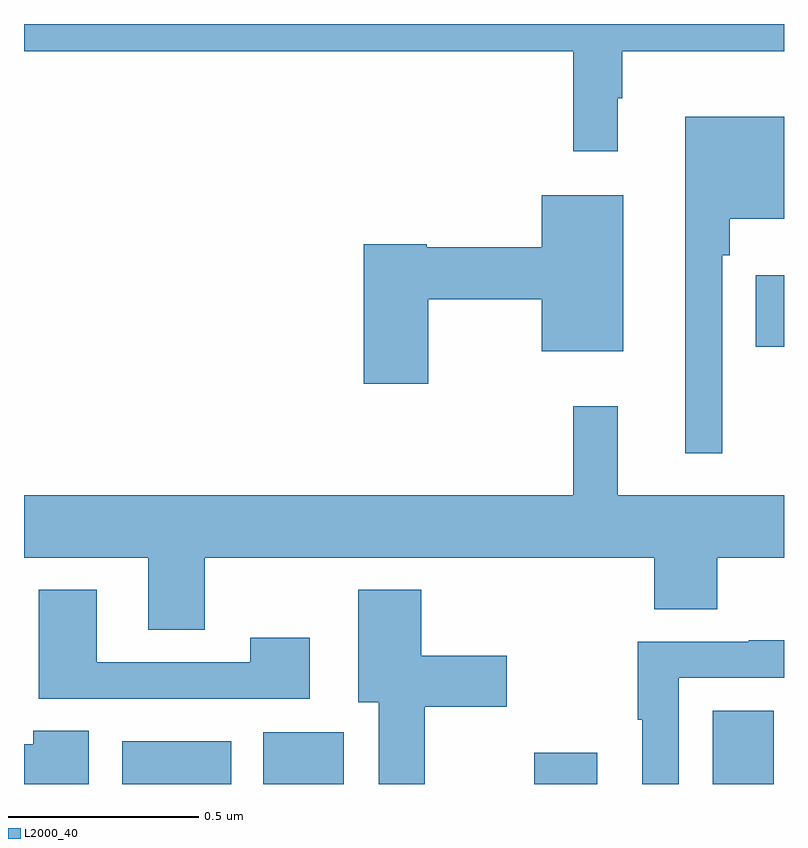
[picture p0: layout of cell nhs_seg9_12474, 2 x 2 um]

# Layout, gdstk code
import gdstk
lib = gdstk.Library(unit=1e-6, precision=1e-09)
def R(c, l, rs):  # rectangles x0, y0, x1, y1
    for r in rs: c.add(gdstk.rectangle(r[:2], r[2:], *l))
def P(c, l, *ps):  # polygons
    for p in ps: c.add(gdstk.Polygon(p, *l))
L2000_40 = (2000, 40)

nhs_seg9_12474 = lib.new_cell('nhs_seg9_12474')
R(nhs_seg9_12474, L2000_40, [(269.258,1186.5,269.545,1186.612), (269.63,1186.5,269.842,1186.636), (270.343,1186.5,270.508,1186.582), (270.812,1186.5,270.973,1186.693), (270.926,1187.651,271,1187.839)])
P(nhs_seg9_12474, L2000_40, [(270.562,1188.305),(270.574,1188.305),(270.574,1188.428),(271,1188.428),(271,1188.5),(269,1188.5),(269,1188.428),(270.445,1188.428),(270.445,1188.165),(270.562,1188.165)],
  [(270.837,1187.891),(270.857,1187.891),(270.857,1187.987),(271,1187.987),(271,1188.256),(270.74,1188.256),(270.74,1187.37),(270.837,1187.37)],
  [(270.064,1187.776),(270.362,1187.776),(270.362,1187.639),(270.577,1187.639),(270.577,1188.049),(270.362,1188.049),(270.362,1187.912),(270.06,1187.912),(270.06,1187.92),(269.894,1187.92),(269.894,1187.553),(270.064,1187.553)],
  [(269.475,1187.096),(270.659,1187.096),(270.659,1186.96),(270.824,1186.96),(270.824,1187.096),(271,1187.096),(271,1187.26),(270.563,1187.26),(270.563,1187.494),(270.445,1187.494),(270.445,1187.26),(269,1187.26),(269,1187.096),(269.327,1187.096),(269.327,1186.906),(269.475,1186.906)],
  [(269.752,1186.885),(269.596,1186.885),(269.596,1186.821),(269.191,1186.821),(269.191,1187.011),(269.039,1187.011),(269.039,1186.725),(269.752,1186.725)],
  [(270.054,1186.703),(270.271,1186.703),(270.271,1186.837),(270.046,1186.837),(270.046,1187.011),(269.879,1187.011),(269.879,1186.715),(269.933,1186.715),(269.933,1186.5),(270.054,1186.5)],
  [(270.723,1186.779),(271,1186.779),(271,1186.878),(270.907,1186.878),(270.907,1186.875),(270.615,1186.875),(270.615,1186.669),(270.627,1186.669),(270.627,1186.5),(270.723,1186.5)],
  [(269.17,1186.64),(269.024,1186.64),(269.024,1186.604),(269,1186.604),(269,1186.5),(269.17,1186.5)])

lib.write_gds('nhs_seg9_12474.gds')
